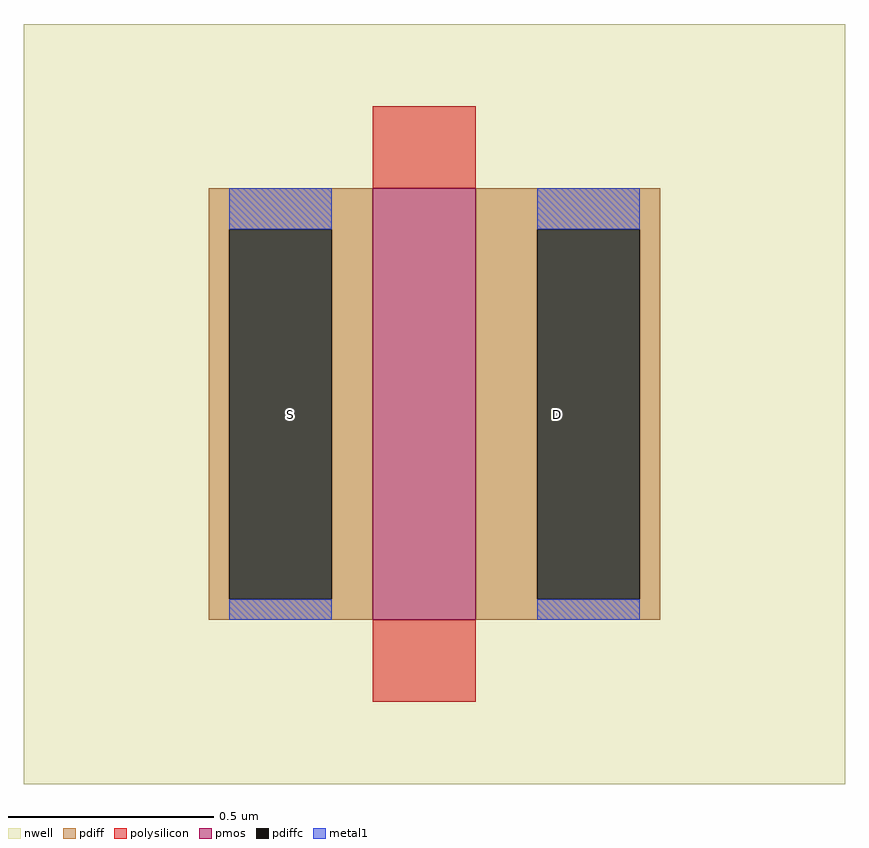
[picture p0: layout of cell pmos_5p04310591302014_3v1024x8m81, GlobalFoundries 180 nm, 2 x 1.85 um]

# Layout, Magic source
magic
tech gf180mcuD
<< nwell >>
rect -17 -8 23 29
<< pmos >>
rect 0 0 5 21
<< pdiff >>
rect -8 19 0 21
rect -8 1 -7 19
rect -2 1 0 19
rect -8 0 0 1
rect 5 19 14 21
rect 5 1 8 19
rect 13 1 14 19
rect 5 0 14 1
<< pdiffc >>
rect -7 1 -2 19
rect 8 1 13 19
<< polysilicon >>
rect 0 21 5 25
rect 0 -4 5 0
<< metal1 >>
rect -7 19 -2 21
rect -7 0 -2 1
rect 8 19 13 21
rect 8 0 13 1
<< labels >>
flabel pdiffc -4 10 -4 10 0 FreeSans 18 0 0 0 S
flabel pdiffc 9 10 9 10 0 FreeSans 18 0 0 0 D
<< end >>
